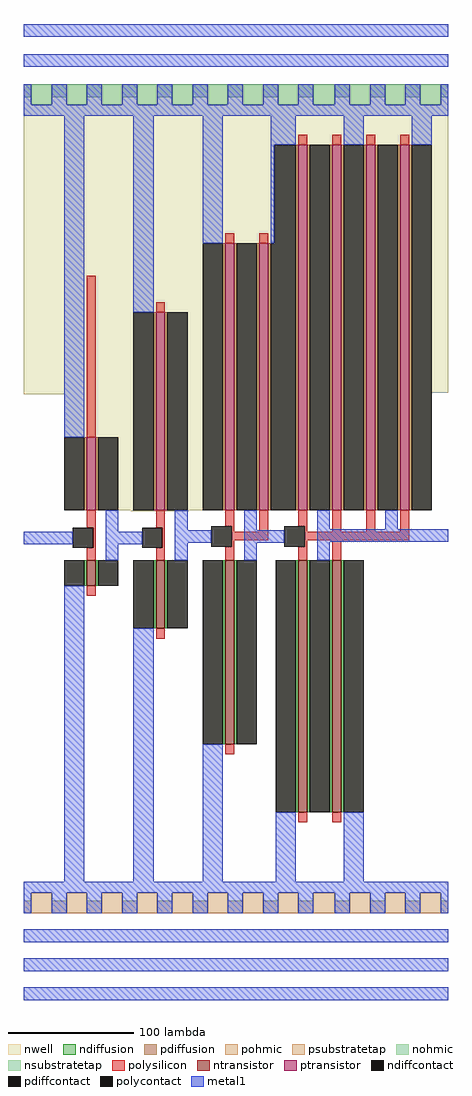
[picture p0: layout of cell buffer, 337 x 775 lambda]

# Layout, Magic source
magic
tech c035u
<< nwell >>
rect 3 483 340 728
rect 3 482 327 483
rect 35 390 327 482
rect 88 389 134 390
<< polysilicon >>
rect 221 680 228 688
rect 248 680 255 688
rect 275 680 282 688
rect 302 680 309 688
rect 163 602 170 610
rect 190 602 197 610
rect 53 448 60 576
rect 108 547 115 555
rect 53 376 60 390
rect 108 376 115 390
rect 163 377 170 390
rect 58 360 60 376
rect 113 360 115 376
rect 168 373 170 377
rect 190 373 197 390
rect 221 377 228 390
rect 168 366 197 373
rect 168 361 170 366
rect 226 373 228 377
rect 248 373 255 390
rect 275 373 282 390
rect 302 373 309 390
rect 226 366 309 373
rect 226 361 228 366
rect 53 350 60 360
rect 108 350 115 360
rect 163 350 170 361
rect 221 350 228 361
rect 248 350 255 366
rect 53 322 60 330
rect 108 288 115 296
rect 163 196 170 204
rect 221 142 228 150
rect 248 142 255 150
<< ndiffusion >>
rect 51 330 53 350
rect 60 330 62 350
rect 106 296 108 350
rect 115 296 117 350
rect 161 204 163 350
rect 170 204 172 350
rect 219 150 221 350
rect 228 150 230 350
rect 246 150 248 350
rect 255 150 257 350
<< pdiffusion >>
rect 51 390 53 448
rect 60 390 62 448
rect 106 390 108 547
rect 115 390 117 547
rect 161 390 163 602
rect 170 390 172 602
rect 188 390 190 602
rect 197 390 199 602
rect 219 390 221 680
rect 228 390 230 680
rect 246 390 248 680
rect 255 390 257 680
rect 273 390 275 680
rect 282 390 284 680
rect 300 390 302 680
rect 309 390 311 680
<< pohmic >>
rect 3 70 9 80
rect 25 70 37 80
rect 53 70 65 80
rect 81 70 93 80
rect 109 70 121 80
rect 137 70 149 80
rect 165 70 177 80
rect 193 70 205 80
rect 221 70 233 80
rect 250 70 262 80
rect 278 70 290 80
rect 306 70 318 80
rect 334 70 340 80
<< nohmic >>
rect 3 718 9 728
rect 25 718 37 728
rect 53 718 65 728
rect 81 718 93 728
rect 109 718 121 728
rect 137 718 149 728
rect 165 718 177 728
rect 193 718 205 728
rect 221 718 233 728
rect 250 718 262 728
rect 278 718 290 728
rect 306 718 318 728
rect 334 718 340 728
<< ntransistor >>
rect 53 330 60 350
rect 108 296 115 350
rect 163 204 170 350
rect 221 150 228 350
rect 248 150 255 350
<< ptransistor >>
rect 53 390 60 448
rect 108 390 115 547
rect 163 390 170 602
rect 190 390 197 602
rect 221 390 228 680
rect 248 390 255 680
rect 275 390 282 680
rect 302 390 309 680
<< polycontact >>
rect 42 360 58 376
rect 97 360 113 376
rect 152 361 168 377
rect 210 361 226 377
<< ndiffcontact >>
rect 35 330 51 350
rect 62 330 78 350
rect 90 296 106 350
rect 117 296 133 350
rect 145 204 161 350
rect 172 204 188 350
rect 203 150 219 350
rect 230 150 246 350
rect 257 150 273 350
<< pdiffcontact >>
rect 202 602 219 680
rect 35 390 51 448
rect 62 390 78 448
rect 90 390 106 547
rect 117 390 133 547
rect 145 390 161 602
rect 172 390 188 602
rect 199 390 219 602
rect 230 390 246 680
rect 257 390 273 680
rect 284 390 300 680
rect 311 390 327 680
<< psubstratetap >>
rect 9 70 25 86
rect 37 70 53 86
rect 65 70 81 86
rect 93 70 109 86
rect 121 70 137 86
rect 149 70 165 86
rect 177 70 193 86
rect 205 70 221 86
rect 233 70 250 86
rect 262 70 278 86
rect 290 70 306 86
rect 318 70 334 86
<< nsubstratetap >>
rect 9 712 25 728
rect 37 712 53 728
rect 65 712 81 728
rect 93 712 109 728
rect 121 712 137 728
rect 149 712 165 728
rect 177 712 193 728
rect 205 712 221 728
rect 233 712 250 728
rect 262 712 278 728
rect 290 712 306 728
rect 318 712 334 728
<< metal1 >>
rect 3 766 340 776
rect 3 742 340 752
rect 3 712 9 728
rect 25 712 37 728
rect 53 712 65 728
rect 81 712 93 728
rect 109 712 121 728
rect 137 712 149 728
rect 165 712 177 728
rect 193 712 205 728
rect 221 712 233 728
rect 250 712 262 728
rect 278 712 290 728
rect 306 712 318 728
rect 334 712 340 728
rect 3 703 340 712
rect 35 448 51 703
rect 90 547 106 703
rect 145 602 161 703
rect 199 680 219 703
rect 257 680 273 703
rect 311 680 327 703
rect 199 602 202 680
rect 3 363 42 373
rect 68 373 78 390
rect 68 363 97 373
rect 68 350 78 363
rect 123 374 133 390
rect 123 364 152 374
rect 123 350 133 364
rect 178 374 188 390
rect 178 364 210 374
rect 178 350 188 364
rect 236 375 246 390
rect 290 375 300 390
rect 236 365 340 375
rect 236 350 246 365
rect 35 95 51 330
rect 90 95 106 296
rect 145 95 161 204
rect 203 95 219 150
rect 257 95 273 150
rect 3 86 340 95
rect 3 70 9 86
rect 25 70 37 86
rect 53 70 65 86
rect 81 70 93 86
rect 109 70 121 86
rect 137 70 149 86
rect 165 70 177 86
rect 193 70 205 86
rect 221 70 233 86
rect 250 70 262 86
rect 278 70 290 86
rect 306 70 318 86
rect 334 70 340 86
rect 3 47 340 57
rect 3 24 340 34
rect 3 1 340 11
<< end >>
